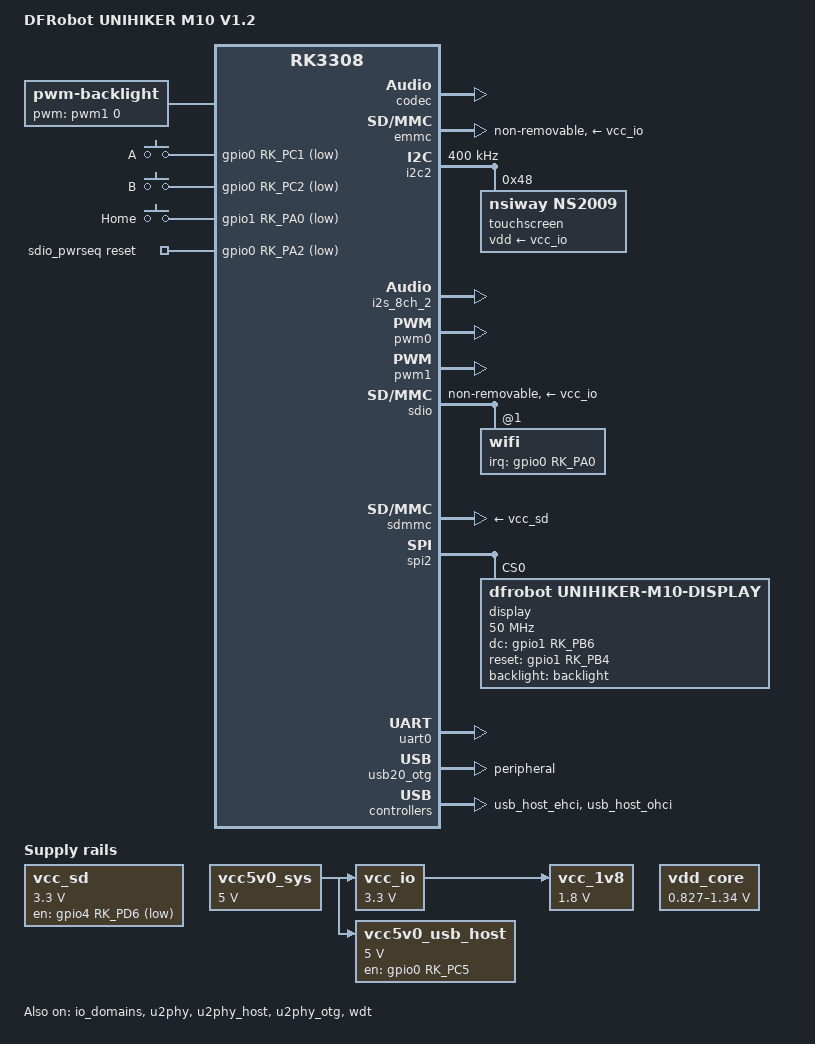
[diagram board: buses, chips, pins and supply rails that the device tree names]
// SPDX-License-Identifier: (GPL-2.0+ OR MIT)
/*
 * Copyright (c) 2026 Mizuno Miotsuki <founder@crepuse.com>
 */

/dts-v1/;

#include <dt-bindings/input/input.h>
#include "rk3308.dtsi"

/ {
	model = "DFRobot UNIHIKER M10 V1.2";
	compatible = "dfrobot,unihiker-m10-v1.2", "rockchip,rk3308";

	aliases {
		mmc0 = &emmc;
		mmc1 = &sdmmc;
		mmc2 = &sdio;
	};

	chosen {
		stdout-path = "serial0:1500000n8";
	};

	backlight: backlight {
		compatible = "pwm-backlight";
		pwms = <&pwm1 0 10000 0>;
		brightness-levels = <0 16 32 48 64 80 96 112 128
				     144 160 176 192 208 224 240 255>;
		default-brightness-level = <12>;
	};

	keys {
		compatible = "gpio-keys";

		key-a {
			debounce-interval = <20>;
			gpios = <&gpio0 RK_PC1 GPIO_ACTIVE_LOW>;
			label = "A";
			linux,code = <KEY_A>;
		};

		key-b {
			debounce-interval = <20>;
			gpios = <&gpio0 RK_PC2 GPIO_ACTIVE_LOW>;
			label = "B";
			linux,code = <KEY_B>;
		};

		key-home {
			debounce-interval = <20>;
			gpios = <&gpio1 RK_PA0 GPIO_ACTIVE_LOW>;
			label = "Home";
			linux,code = <KEY_HOME>;
		};
	};

	sdio_pwrseq: sdio-pwrseq {
		compatible = "mmc-pwrseq-simple";
		pinctrl-names = "default";
		pinctrl-0 = <&wifi_enable_h>;
		reset-gpios = <&gpio0 RK_PA2 GPIO_ACTIVE_LOW>;
	};

	sound {
		compatible = "simple-audio-card";
		simple-audio-card,name = "UNIHIKER M10 RK3308 codec";
		simple-audio-card,format = "i2s";
		simple-audio-card,mclk-fs = <256>;
		simple-audio-card,widgets =
			"Microphone", "Internal Microphone";
		simple-audio-card,routing =
			"Internal Microphone", "MICBIAS1",
			"MIC1", "Internal Microphone";

		simple-audio-card,cpu {
			sound-dai = <&i2s_8ch_2>;
		};

		simple-audio-card,codec {
			sound-dai = <&codec>;
		};
	};

	vcc_1v8: regulator-vcc-1v8 {
		compatible = "regulator-fixed";
		regulator-name = "vcc_1v8";
		regulator-always-on;
		regulator-boot-on;
		regulator-min-microvolt = <1800000>;
		regulator-max-microvolt = <1800000>;
		vin-supply = <&vcc_io>;
	};

	vcc_io: regulator-vcc-io {
		compatible = "regulator-fixed";
		regulator-name = "vcc_io";
		regulator-always-on;
		regulator-boot-on;
		regulator-min-microvolt = <3300000>;
		regulator-max-microvolt = <3300000>;
		vin-supply = <&vcc5v0_sys>;
	};

	vcc_sd: regulator-vcc-sd {
		compatible = "regulator-fixed";
		gpios = <&gpio4 RK_PD6 GPIO_ACTIVE_LOW>;
		pinctrl-names = "default";
		pinctrl-0 = <&sd_vcc_en>;
		regulator-name = "vcc_sd";
		regulator-min-microvolt = <3300000>;
		regulator-max-microvolt = <3300000>;
	};

	vcc5v0_sys: regulator-vcc5v0-sys {
		compatible = "regulator-fixed";
		regulator-name = "vcc5v0_sys";
		regulator-always-on;
		regulator-boot-on;
		regulator-min-microvolt = <5000000>;
		regulator-max-microvolt = <5000000>;
	};

	vcc5v0_usb_host: regulator-vcc5v0-usb-host {
		compatible = "regulator-fixed";
		enable-active-high;
		gpios = <&gpio0 RK_PC5 GPIO_ACTIVE_HIGH>;
		pinctrl-names = "default";
		pinctrl-0 = <&usb_host_vbus_en>;
		regulator-name = "vcc5v0_usb_host";
		regulator-min-microvolt = <5000000>;
		regulator-max-microvolt = <5000000>;
		vin-supply = <&vcc5v0_sys>;
	};

	vdd_core: regulator-vdd-core {
		compatible = "pwm-regulator";
		pwms = <&pwm0 0 5000 1>;
		regulator-name = "vdd_core";
		regulator-always-on;
		regulator-boot-on;
		regulator-min-microvolt = <827000>;
		regulator-max-microvolt = <1340000>;
		regulator-settling-time-up-us = <250>;
	};
};

&codec {
	rockchip,micbias-avdd-percent = <85>;
	status = "okay";
};

&cpu0 {
	cpu-supply = <&vdd_core>;
};

&emmc {
	cap-mmc-highspeed;
	no-1-8-v;
	non-removable;
	pinctrl-names = "default";
	pinctrl-0 = <&emmc_bus8 &emmc_clk &emmc_cmd>;
	vmmc-supply = <&vcc_io>;
	status = "okay";
};

&i2c2 {
	clock-frequency = <400000>;
	status = "okay";

	touchscreen@48 {
		compatible = "nsiway,ns2009";
		reg = <0x48>;
		vdd-supply = <&vcc_io>;
		touchscreen-min-pressure = <150>;
		touchscreen-inverted-y;
	};
};

&i2s_8ch_2 {
	#sound-dai-cells = <0>;
	status = "okay";
};

&io_domains {
	vccio0-supply = <&vcc_io>;
	vccio1-supply = <&vcc_io>;
	vccio2-supply = <&vcc_io>;
	vccio3-supply = <&vcc_io>;
	vccio4-supply = <&vcc_1v8>;
	vccio5-supply = <&vcc_io>;
	status = "okay";
};

&otp {
	status = "disabled";
};

&pinctrl {
	pinctrl-names = "default";
	pinctrl-0 = <&rtc_32k>;

	lcd {
		lcd_control: lcd-control {
			rockchip,pins = <1 RK_PB4 RK_FUNC_GPIO &pcfg_pull_none>,
				       <1 RK_PB6 RK_FUNC_GPIO &pcfg_pull_none>;
		};
	};

	sdmmc {
		sd_vcc_en: sd-vcc-en {
			rockchip,pins = <4 RK_PD6 RK_FUNC_GPIO &pcfg_pull_none>;
		};
	};

	usb {
		usb_host_vbus_en: usb-host-vbus-en {
			rockchip,pins = <0 RK_PC5 RK_FUNC_GPIO &pcfg_pull_none>;
		};
	};

	wifi {
		wifi_enable_h: wifi-enable-h {
			rockchip,pins = <0 RK_PA2 RK_FUNC_GPIO &pcfg_pull_none>;
		};

		wifi_host_wake: wifi-host-wake {
			rockchip,pins = <0 RK_PA0 RK_FUNC_GPIO &pcfg_pull_down>;
		};
	};
};

&pwm0 {
	pinctrl-names = "default";
	pinctrl-0 = <&pwm0_pin_pull_down>;
	status = "okay";
};

&pwm1 {
	status = "okay";
};

&sdio {
	#address-cells = <1>;
	#size-cells = <0>;
	cap-sd-highspeed;
	cap-sdio-irq;
	keep-power-in-suspend;
	mmc-pwrseq = <&sdio_pwrseq>;
	no-mmc;
	no-sd;
	non-removable;
	vmmc-supply = <&vcc_io>;
	vqmmc-supply = <&vcc_1v8>;
	status = "okay";

	wifi@1 {
		reg = <1>;
		interrupt-parent = <&gpio0>;
		interrupts = <RK_PA0 IRQ_TYPE_LEVEL_HIGH>;
		interrupt-names = "host-wake";
		pinctrl-names = "default";
		pinctrl-0 = <&wifi_host_wake>;
	};
};

&sdmmc {
	cap-sd-highspeed;
	disable-wp;
	no-1-8-v;
	vmmc-supply = <&vcc_sd>;
	vqmmc-supply = <&vcc_io>;
	status = "okay";
};

&spi2 {
	assigned-clocks = <&cru SCLK_SPI2>;
	assigned-clock-parents = <&cru PLL_DPLL>;
	assigned-clock-rates = <100000000>;
	status = "okay";

	display@0 {
		compatible = "dfrobot,unihiker-m10-display", "panel-mipi-dbi-spi";
		reg = <0>;
		spi-max-frequency = <50000000>;
		pinctrl-names = "default";
		pinctrl-0 = <&lcd_control>;
		dc-gpios = <&gpio1 RK_PB6 GPIO_ACTIVE_HIGH>;
		/* The DBI reset helper drives logical low, then high. */
		reset-gpios = <&gpio1 RK_PB4 GPIO_ACTIVE_HIGH>;
		backlight = <&backlight>;
		format = "r5g6b5";
		width-mm = <43>;
		height-mm = <58>;

		panel-timing {
			clock-frequency = <0>;
			hactive = <240>;
			vactive = <320>;
			hback-porch = <0>;
			hfront-porch = <0>;
			hsync-len = <0>;
			vback-porch = <0>;
			vfront-porch = <0>;
			vsync-len = <0>;
		};
	};
};

&u2phy {
	status = "okay";
};

&u2phy_host {
	phy-supply = <&vcc5v0_usb_host>;
	status = "okay";
};

&u2phy_otg {
	status = "okay";
};

&uart0 {
	pinctrl-names = "default";
	pinctrl-0 = <&uart0_xfer>;
	status = "okay";
};

&usb20_otg {
	dr_mode = "peripheral";
	status = "okay";
};

&usb_host_ehci {
	status = "okay";
};

&usb_host_ohci {
	status = "okay";
};

&wdt {
	status = "okay";
};
